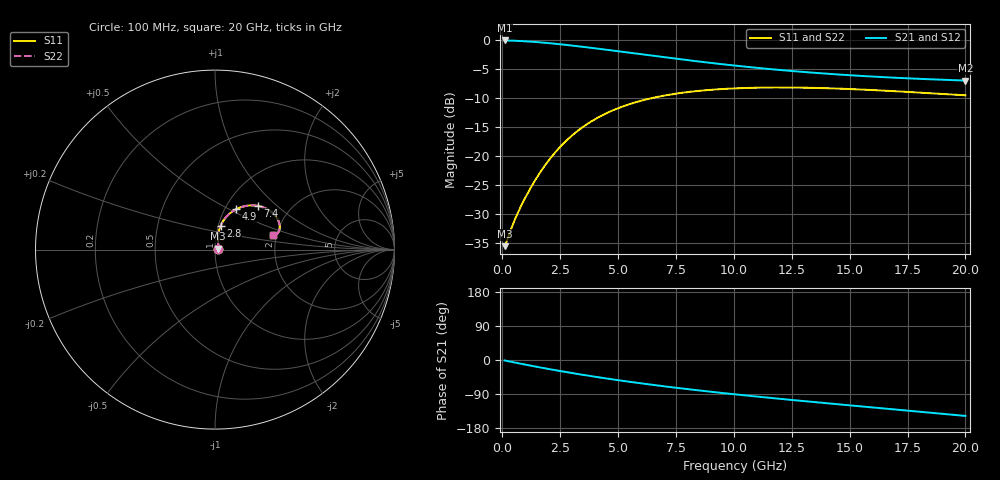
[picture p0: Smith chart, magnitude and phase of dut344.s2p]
! Touchstone file exported from HFSS 2024.1.0
!  File:  C:/UserFiles/LocalFiles/RDL_TSV_Batchsim/temp_RDL_TSV_344_1779635786.aedt
!  Generated:  11:35:13 PM May 24, 2026
!  Design:  RDL_TSV
!  Project:  temp_RDL_TSV_344_1779635786
!  Setup:  Setup1
!  Solution:  Sweep
! Variables:
!  dtsv = 5.2um
!  hbump = 3um
!  htsv = 53.34um
!  ldown = 481.28um
!  lrdl = 185.3um
!  p = 40
!  p1 = 57.5um
!  rhole = 10um
!  subl = 2185.04um
!  t = 450um
!  tdown = 2.16um
!  trdl = 2.08um
!  viad = 10um
!  wdown = 28.66um
!  wrdl = 20.41um
!  xbump = 18um
# GHz S MA R 50.000000
! Terminal data exported
! Port[1] = TM1_1_T1
! Port[2] = TM1_4_T1
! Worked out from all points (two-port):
!   200 points, 100 MHz to 20 GHz, reference 50 ohm
!   highest |S21| = -0.14 dB at 100 MHz (marker M1); lowest = -7.0 dB at 20 GHz (marker M2)
!   |S21| within 3 dB of the highest: start of sweep to 7.23 GHz
!   lowest |S11| = -35.5 dB at 100 MHz (marker M3), VSWR 1.03, Z = 51.6 + j0.461 ohm
!   |S11| at or under -10 dB: start of sweep to 6.512 GHz
!   |S22| runs from -35.5 to -8.2 dB; largest |S21 - S12| = 9.5e-15
!   S11 on the Smith chart (normalised r, x): 100 MHz: 1.03, +0.01; 2.8 GHz: 1.03, +0.28; 4.9 GHz: 1.13, +0.54; 7.4 GHz: 1.38, +0.76; 20 GHz: 1.91, +0.34
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0.1  0.01682 15.4  0.9836 -1.3  0.9836 -1.3  0.01682 15.4
! Gamma 0 0 0 0
! Port Impedance 50 0 50 0
0.5  0.02712 49.8  0.9784 -6.3  0.9784 -6.3  0.02712 49.8
0.7  0.03345 58.2  0.9746 -8.7  0.9746 -8.7  0.03345 58.2
1  0.04412 67.1  0.9674 -12.3  0.9674 -12.3  0.04412 67.1
1.3  0.05652 72.8  0.9587 -15.8  0.9587 -15.8  0.05652 72.8
1.6  0.07059 76.1  0.9486 -19.2  0.9486 -19.2  0.07059 76.1
2  0.09149 78.1  0.9334 -23.7  0.9334 -23.7  0.09148 78.1
2.4  0.1141 78.0  0.9167 -28.1  0.9167 -28.1  0.1141 78.0
2.8  0.1376 76.7  0.8989 -32.3  0.8989 -32.3  0.1375 76.7
3.5  0.1787 72.7  0.8663 -39.3  0.8663 -39.3  0.1787 72.7
4.2  0.2177 67.8  0.8329 -46.0  0.8329 -46.0  0.2176 67.7
4.9  0.2528 62.5  0.7996 -52.4  0.7996 -52.4  0.2527 62.5
5.8  0.2913 56.0  0.7579 -60.0  0.7579 -60.0  0.2912 56.0
6.8  0.325 49.3  0.7141 -68.0  0.7141 -68.0  0.3249 49.3
7.4  0.341 45.6  0.6895 -72.5  0.6895 -72.5  0.3409 45.6
8.7  0.3663 38.4  0.6412 -81.7  0.6412 -81.7  0.3661 38.4
10.1  0.3816 31.9  0.5967 -90.9  0.5967 -90.9  0.3814 31.9
11.7  0.3879 25.8  0.5551 -100.7  0.5551 -100.7  0.3877 25.8
13.4  0.3852 20.7  0.5202 -110.6  0.5202 -110.6  0.3849 20.8
15  0.3764 17.2  0.4945 -119.7  0.4945 -119.7  0.376 17.2
16.7  0.3628 14.7  0.4733 -129.1  0.4733 -129.1  0.3623 14.7
20  0.3326 13.8  0.4449 -147.6  0.4449 -147.6  0.332 13.8
